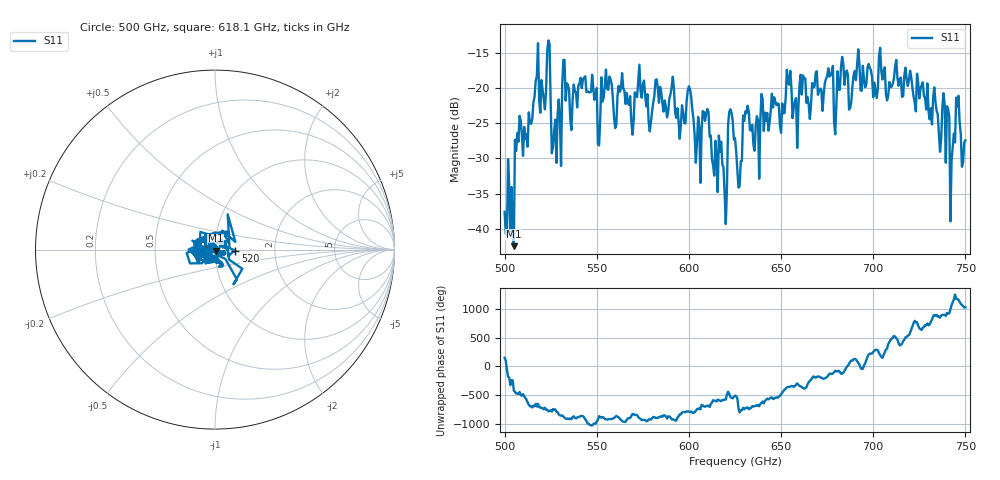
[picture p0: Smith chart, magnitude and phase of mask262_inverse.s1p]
!Created with skrf (http://scikit-rf.org).
# GHz S MA R 50.0
!freq magS11 angS11
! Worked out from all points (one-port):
!   401 points, 500 GHz to 750 GHz, reference 50 ohm
!   lowest |S11| = -42.5 dB at 505 GHz (marker M1), VSWR 1.02, Z = 50.4 - j0.626 ohm
!   |S11| at or under -10 dB: start of sweep to end of sweep
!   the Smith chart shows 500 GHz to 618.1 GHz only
!   S11 on the Smith chart (normalised r, x): 500 GHz: 0.98, +0.01; 520 GHz: 1.26, -0.02; 618.1 GHz: 0.96, +0.04
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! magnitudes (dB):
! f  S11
! 500 GHz  -37.6
! 505 GHz  -42.5
! 506.9 GHz  -26.4
! 520 GHz  -18.8
! 523.8 GHz  -13.2
! 526.9 GHz  -26.2
! 531.2 GHz  -19.5
! 550.6 GHz  -28.0
! 562.5 GHz  -20.5
! 593.8 GHz  -22.9
! 600 GHz  -19.7
! 605 GHz  -24.1
! 609.4 GHz  -23.6
! 618.1 GHz  -30.9
! 619.4 GHz  -35.0
! 622.5 GHz  -23.0
! 625 GHz  -27.1
! 627.5 GHz  -34.0
! 630.6 GHz  -23.3
! 636.9 GHz  -24.0
! 656.2 GHz  -24.3
! 687.5 GHz  -22.8
! 691.2 GHz  -16.7
! 718.8 GHz  -19.7
! 739.4 GHz  -30.6
! 743.1 GHz  -28.3
! 746.2 GHz  -21.1
! 750 GHz  -27.4
